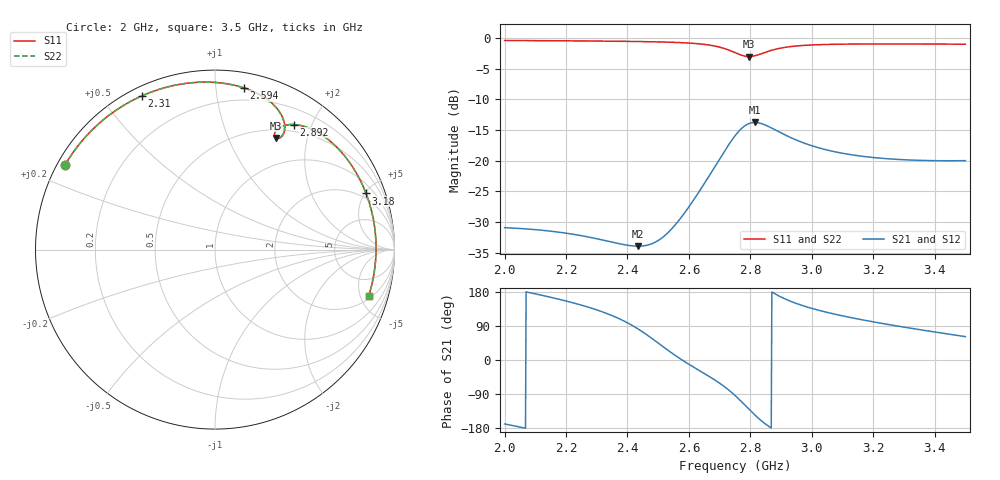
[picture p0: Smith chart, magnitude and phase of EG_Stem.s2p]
! Touchstone file exported from HFSS 2022.1.0
!  File:  C:/Users/Hamza Safder/Downloads/PSF-V2 with holder (4).aedt
!  Generated:  2:19:43 AM  Sep 30, 2023
!  Design:  HFSSDesign1
!  Project:  PSF-V2 with holder (4)
!  Setup:  Setup1
!  Solution:  Sweep
! Variables:
!  WS = 5mm
!  ax = 15mm
!  az = 3.18mm
!  azd = 3mm
!  bx = 13mm
!  bx2 = 12.5mm
!  bx3 = 3.16mm
!  cin = 27.8mm
!  gap = 0.7mm
!  mid = 3mm
!  shift = 21.24mm
!  strip_1L = 18.62mm
!  substrate_L = 80mm
!  substrate_W = 70mm
!  t = 3mm
!  w50 = 9.18mm
!  wt = 1mm
!  xs = 0.8mm
!  zzz = 8mm
# GHz S MA R 50.000000
! Terminal data exported
! Port[1] = ground_T1
! Port[2] = ground_T2
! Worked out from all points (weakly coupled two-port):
!   751 points, 2 GHz to 3.5 GHz, reference 50 ohm
!   highest |S21| = -13.76 dB at 2.814 GHz (marker M1); lowest = -34.0 dB at 2.434 GHz (marker M2)
!   lowest |S11| = -3.0 dB at 2.796 GHz (marker M3), VSWR 5.86, Z = 30.3 + j75.6 ohm
!   |S11| at or under -10 dB: nowhere
!   |S22| runs from -3.0 to -0.4 dB; largest |S21 - S12| = 3.6e-15
!   S11 on the Smith chart (normalised r, x): 2 GHz: 0.02, +0.26; 2.31 GHz: 0.04, +0.63; 2.594 GHz: 0.11, +1.19; 2.892 GHz: 0.40, +1.75; 3.18 GHz: 1.57, +5.09; 3.5 GHz: 2.28, -5.90
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2  0.9595 150.6  0.02839 -168.8  0.02839 -168.8  0.9592 150.6
! Gamma 0 0 0 0
! Port Impedance 50 0 50 0
2.12  0.956 137.2  0.02706 171.0  0.02706 171.0  0.9557 137.3
2.25  0.9513 122.4  0.02441 144.8  0.02441 144.8  0.951 122.5
2.31  0.9486 115.5  0.02276 129.5  0.02276 129.5  0.9482 115.5
2.434  0.9408 100.6  0.02004 82.2  0.02004 82.2  0.9404 100.6
2.5  0.9341 92.4  0.02229 44.7  0.02229 44.7  0.9336 92.4
2.544  0.9274 86.7  0.02777 18.6  0.02777 18.6  0.927 86.7
2.594  0.9158 79.9  0.03999 -8.3  0.03999 -8.3  0.9153 80.0
2.646  0.8938 72.6  0.06265 -33.6  0.06265 -33.6  0.8933 72.7
2.694  0.8536 65.6  0.09772 -57.9  0.09772 -57.9  0.8533 65.7
2.75  0.7634 59.6  0.1596 -93.5  0.1596 -93.5  0.7635 59.7
2.796  0.7085 61.3  0.2012 -130.4  0.2012 -130.4  0.7093 61.4
2.814  0.7185 62.6  0.2051 -144.7  0.2051 -144.7  0.7194 62.7
2.846  0.7638 62.3  0.1967 -166.9  0.1967 -166.9  0.7645 62.4
2.892  0.8244 57.7  0.1727 169.4  0.1727 169.4  0.8248 57.7
2.94  0.8601 51.2  0.151 152.1  0.151 152.1  0.8603 51.3
3  0.8817 43.1  0.1325 136.2  0.1325 136.2  0.8816 43.2
3.088  0.894 31.8  0.1165 118.6  0.1165 118.6  0.8938 31.8
3.18  0.8979 20.4  0.1075 103.6  0.1075 103.6  0.8976 20.5
3.25  0.8984 12.0  0.1036 93.5  0.1036 93.5  0.898 12.1
3.372  0.8971 -2.3  0.1003 77.4  0.1003 77.4  0.8966 -2.2
3.5  0.8946 -16.8  0.1001 61.7  0.1001 61.7  0.894 -16.7
